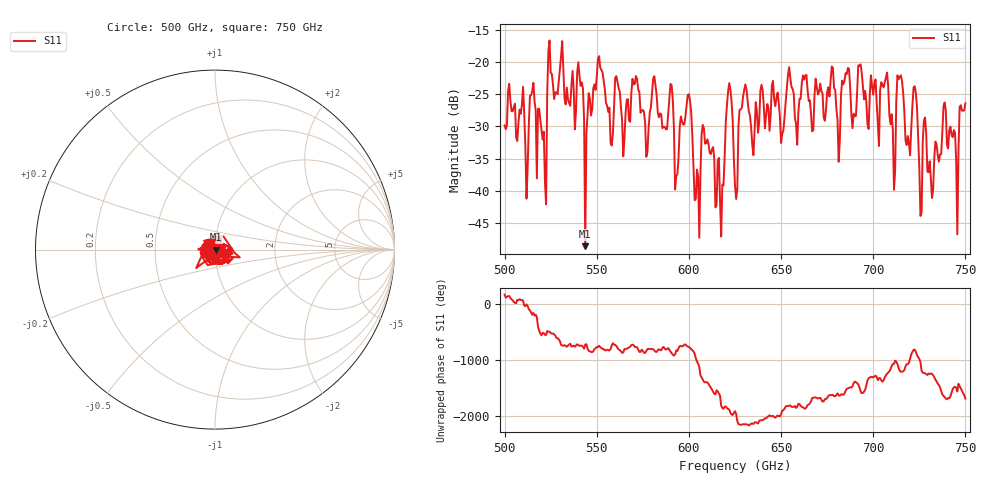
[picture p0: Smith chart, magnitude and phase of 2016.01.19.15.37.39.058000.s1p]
!Created with skrf (http://scikit-rf.org).
# GHz S RI R 50.0
!freq ReS11 ImS11
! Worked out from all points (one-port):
!   401 points, 500 GHz to 750 GHz, reference 50 ohm
!   lowest |S11| = -48.6 dB at 543.8 GHz (marker M1), VSWR 1.01, Z = 50.4 - j0.0165 ohm
!   |S11| at or under -10 dB: start of sweep to end of sweep
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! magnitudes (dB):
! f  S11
! 500 GHz  -29.8
! 511.9 GHz  -41.2
! 515 GHz  -24.5
! 521.2 GHz  -30.8
! 524.4 GHz  -16.7
! 531.2 GHz  -16.8
! 543.8 GHz  -48.6
! 551.2 GHz  -19.1
! 562.5 GHz  -24.6
! 590 GHz  -23.4
! 593.8 GHz  -37.4
! 600 GHz  -25.0
! 604.4 GHz  -36.7
! 608.1 GHz  -30.3
! 618.1 GHz  -39.0
! 621.9 GHz  -23.3
! 625 GHz  -39.2
! 630 GHz  -24.3
! 656.2 GHz  -24.2
! 687.5 GHz  -24.0
! 706.9 GHz  -22.4
! 710.6 GHz  -30.5
! 714.4 GHz  -22.3
! 718.8 GHz  -31.5
! 722.5 GHz  -23.8
! 725.6 GHz  -43.9
! 731.2 GHz  -38.0
! 750 GHz  -26.4
